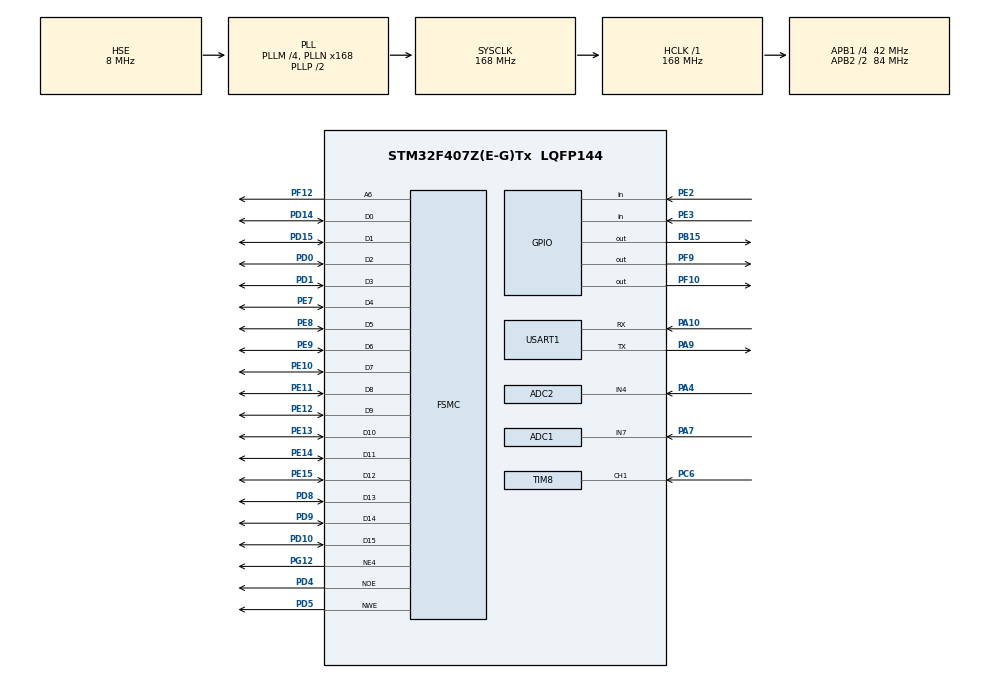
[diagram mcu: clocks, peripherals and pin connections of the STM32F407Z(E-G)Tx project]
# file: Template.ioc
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ADC1.Channel-6\#ChannelRegularConversion=ADC_CHANNEL_7
ADC1.DMAContinuousRequests=DISABLE
ADC1.ExternalTrigConv=ADC_EXTERNALTRIGCONV_T2_TRGO
ADC1.NbrOfConversionFlag=1
ADC1.Rank-6\#ChannelRegularConversion=1
ADC1.SamplingTime-6\#ChannelRegularConversion=ADC_SAMPLETIME_3CYCLES
ADC1.master=1
ADC2.Channel-0\#ChannelRegularConversion=ADC_CHANNEL_4
ADC2.ExternalTrigConv=ADC_EXTERNALTRIGCONV_T2_TRGO
ADC2.NbrOfConversionFlag=1
ADC2.Rank-0\#ChannelRegularConversion=1
ADC2.SamplingTime-0\#ChannelRegularConversion=ADC_SAMPLETIME_3CYCLES
Dma.ADC1.2.Direction=DMA_PERIPH_TO_MEMORY
Dma.ADC1.2.FIFOMode=DMA_FIFOMODE_DISABLE
Dma.ADC1.2.Instance=DMA2_Stream0
Dma.ADC1.2.MemDataAlignment=DMA_MDATAALIGN_HALFWORD
Dma.ADC1.2.MemInc=DMA_MINC_ENABLE
Dma.ADC1.2.Mode=DMA_CIRCULAR
Dma.ADC1.2.PeriphDataAlignment=DMA_PDATAALIGN_HALFWORD
Dma.ADC1.2.PeriphInc=DMA_PINC_DISABLE
Dma.ADC1.2.Priority=DMA_PRIORITY_LOW
Dma.ADC2.3.Direction=DMA_PERIPH_TO_MEMORY
Dma.ADC2.3.FIFOMode=DMA_FIFOMODE_DISABLE
Dma.ADC2.3.Instance=DMA2_Stream3
Dma.ADC2.3.MemDataAlignment=DMA_MDATAALIGN_HALFWORD
Dma.ADC2.3.MemInc=DMA_MINC_ENABLE
Dma.ADC2.3.Mode=DMA_CIRCULAR
Dma.ADC2.3.PeriphDataAlignment=DMA_PDATAALIGN_HALFWORD
Dma.ADC2.3.PeriphInc=DMA_PINC_DISABLE
Dma.ADC2.3.Priority=DMA_PRIORITY_LOW
Dma.Request0=USART1_RX
Dma.Request1=USART1_TX
Dma.Request2=ADC1
Dma.Request3=ADC2
Dma.USART1_RX.0.Direction=DMA_PERIPH_TO_MEMORY
Dma.USART1_RX.0.FIFOMode=DMA_FIFOMODE_DISABLE
Dma.USART1_RX.0.Instance=DMA2_Stream2
Dma.USART1_RX.0.MemDataAlignment=DMA_MDATAALIGN_BYTE
Dma.USART1_RX.0.MemInc=DMA_MINC_ENABLE
Dma.USART1_RX.0.Mode=DMA_NORMAL
Dma.USART1_RX.0.PeriphDataAlignment=DMA_PDATAALIGN_BYTE
Dma.USART1_RX.0.PeriphInc=DMA_PINC_DISABLE
Dma.USART1_RX.0.Priority=DMA_PRIORITY_MEDIUM
Dma.USART1_TX.1.Direction=DMA_MEMORY_TO_PERIPH
Dma.USART1_TX.1.FIFOMode=DMA_FIFOMODE_DISABLE
Dma.USART1_TX.1.Instance=DMA2_Stream7
Dma.USART1_TX.1.MemDataAlignment=DMA_MDATAALIGN_BYTE
Dma.USART1_TX.1.MemInc=DMA_MINC_ENABLE
Dma.USART1_TX.1.Mode=DMA_NORMAL
Dma.USART1_TX.1.PeriphDataAlignment=DMA_PDATAALIGN_BYTE
Dma.USART1_TX.1.PeriphInc=DMA_PINC_DISABLE
Dma.USART1_TX.1.Priority=DMA_PRIORITY_HIGH
FSMC.ExtendedAddressSetupTime4=8
FSMC.ExtendedBusTurnAroundDuration4=0
FSMC.ExtendedDataSetupTime4=9
FSMC.ExtendedMode4=FSMC_EXTENDED_MODE_ENABLE
Mcu.Family=STM32F4
Mcu.Name=STM32F407Z(E-G)Tx
Mcu.Package=LQFP144
NVIC.DMA2_Stream0_IRQn=true\:0\:0\:false\:false\:true\:false\:true\:true
NVIC.DMA2_Stream2_IRQn=true\:0\:0\:false\:false\:true\:false\:true\:true
NVIC.DMA2_Stream3_IRQn=true\:0\:0\:false\:false\:true\:false\:true\:true
NVIC.DMA2_Stream7_IRQn=true\:0\:0\:false\:false\:true\:false\:true\:true
NVIC.PriorityGroup=NVIC_PRIORITYGROUP_4
NVIC.TIM8_CC_IRQn=true\:0\:0\:false\:false\:true\:true\:true\:true
NVIC.USART1_IRQn=true\:3\:0\:true\:false\:true\:true\:true\:true
PA10.Mode=Asynchronous
PA10.Signal=USART1_RX
PA13.Mode=Serial_Wire
PA13.Signal=SYS_JTMS-SWDIO
PA14.Mode=Serial_Wire
PA14.Signal=SYS_JTCK-SWCLK
PA4.Signal=ADCx_IN4
PA7.Signal=ADCx_IN7
PA9.Mode=Asynchronous
PA9.Signal=USART1_TX
PB15.Signal=GPIO_Output
PC14-OSC32_IN.Mode=LSE-External-Oscillator
PC14-OSC32_IN.Signal=RCC_OSC32_IN
PC15-OSC32_OUT.Mode=LSE-External-Oscillator
PC15-OSC32_OUT.Signal=RCC_OSC32_OUT
PC6.Signal=S_TIM8_CH1
PD0.Signal=FSMC_D2_DA2
PD1.Signal=FSMC_D3_DA3
PD10.Signal=FSMC_D15_DA15
PD14.Signal=FSMC_D0_DA0
PD15.Signal=FSMC_D1_DA1
PD4.Signal=FSMC_NOE
PD5.Signal=FSMC_NWE
PD8.Signal=FSMC_D13_DA13
PD9.Signal=FSMC_D14_DA14
PE10.Signal=FSMC_D7_DA7
PE11.Signal=FSMC_D8_DA8
PE12.Signal=FSMC_D9_DA9
PE13.Signal=FSMC_D10_DA10
PE14.Signal=FSMC_D11_DA11
PE15.Signal=FSMC_D12_DA12
PE2.GPIO_PuPd=GPIO_PULLUP
PE2.Signal=GPIO_Input
PE3.GPIO_PuPd=GPIO_PULLUP
PE3.Signal=GPIO_Input
PE7.Signal=FSMC_D4_DA4
PE8.Signal=FSMC_D5_DA5
PE9.Signal=FSMC_D6_DA6
PF10.GPIO_PuPd=GPIO_PULLUP
PF10.Signal=GPIO_Output
PF12.Signal=FSMC_A6
PF9.GPIO_PuPd=GPIO_PULLUP
PF9.PinState=GPIO_PIN_RESET
PF9.Signal=GPIO_Output
PG12.Mode=NorPsramChipSelect4_4
PG12.Signal=FSMC_NE4
PH0-OSC_IN.Mode=HSE-External-Oscillator
PH0-OSC_IN.Signal=RCC_OSC_IN
PH1-OSC_OUT.Mode=HSE-External-Oscillator
PH1-OSC_OUT.Signal=RCC_OSC_OUT
ProjectManager.HeapSize=0x200
ProjectManager.StackSize=0x400
ProjectManager.TargetToolchain=STM32CubeIDE
RCC.48MHZClocksFreq_Value=84000000
RCC.AHBFreq_Value=168000000
RCC.APB1CLKDivider=RCC_HCLK_DIV4
RCC.APB1Freq_Value=42000000
RCC.APB1TimFreq_Value=84000000
RCC.APB2CLKDivider=RCC_HCLK_DIV2
RCC.APB2Freq_Value=84000000
RCC.APB2TimFreq_Value=168000000
RCC.CortexFreq_Value=168000000
RCC.HCLKFreq_Value=168000000
RCC.HSE_VALUE=8000000
RCC.HSI_VALUE=16000000
RCC.PLLM=4
RCC.PLLN=168
RCC.PLLSourceVirtual=RCC_PLLSOURCE_HSE
RCC.SYSCLKFreq_VALUE=168000000
RCC.SYSCLKSource=RCC_SYSCLKSOURCE_PLLCLK
RCC.VCOOutputFreq_Value=336000000
SH.ADCx_IN4.0=ADC2_IN4,IN4
SH.ADCx_IN7.0=ADC1_IN7,IN7
SH.FSMC_A6.0=FSMC_A6,A6_4
SH.FSMC_D0_DA0.0=FSMC_D0,16b-d4
SH.FSMC_D10_DA10.0=FSMC_D10,16b-d4
SH.FSMC_D11_DA11.0=FSMC_D11,16b-d4
SH.FSMC_D12_DA12.0=FSMC_D12,16b-d4
SH.FSMC_D13_DA13.0=FSMC_D13,16b-d4
SH.FSMC_D14_DA14.0=FSMC_D14,16b-d4
SH.FSMC_D15_DA15.0=FSMC_D15,16b-d4
SH.FSMC_D1_DA1.0=FSMC_D1,16b-d4
SH.FSMC_D2_DA2.0=FSMC_D2,16b-d4
SH.FSMC_D3_DA3.0=FSMC_D3,16b-d4
SH.FSMC_D4_DA4.0=FSMC_D4,16b-d4
SH.FSMC_D5_DA5.0=FSMC_D5,16b-d4
SH.FSMC_D6_DA6.0=FSMC_D6,16b-d4
SH.FSMC_D7_DA7.0=FSMC_D7,16b-d4
SH.FSMC_D8_DA8.0=FSMC_D8,16b-d4
SH.FSMC_D9_DA9.0=FSMC_D9,16b-d4
SH.FSMC_NOE.0=FSMC_NOE,Lcd4
SH.FSMC_NWE.0=FSMC_NWE,Lcd4
SH.S_TIM8_CH1.0=TIM8_CH1,TriggerSource_TI1FP1
SH.S_TIM8_CH1.1=TIM8_CH1,Input_Capture1_from_TI1
TIM2.AutoReloadPreload=TIM_AUTORELOAD_PRELOAD_ENABLE
TIM2.Period=8399
TIM2.TIM_MasterOutputTrigger=TIM_TRGO_UPDATE
TIM8.AutoReloadPreload=TIM_AUTORELOAD_PRELOAD_ENABLE
TIM8.Channel-Input_Capture1_from_TI1=TIM_CHANNEL_1
TIM8.Channel-Input_Capture2_from_TI1_63=TIM_CHANNEL_2
TIM8.ICPolarity_CH2=TIM_INPUTCHANNELPOLARITY_FALLING
TIM8.Prescaler=168-1
USART1.VirtualMode=VM_ASYNC
VP_TIM2_VS_ClockSourceINT.Mode=Internal
VP_TIM8_VS_ClockSourceINT.Mode=Internal
VP_TIM8_VS_ControllerModeReset.Mode=Reset Mode
VP_TIM8_VS_indirect_ch1.Mode=Input_Capture2_from_TI1_63
board=custom

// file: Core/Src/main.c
/* USER CODE BEGIN Header */
/**
  ******************************************************************************
  * @file           : main.c
  * @brief          : Main program body
  ******************************************************************************
  * @attention
  *
  * Copyright (c) 2023 STMicroelectronics.
  * All rights reserved.
  *
  * This software is licensed under terms that can be found in the LICENSE file
  * in the root directory of this software component.
  * If no LICENSE file comes with this software, it is provided AS-IS.
  *
  ******************************************************************************
  */
/* USER CODE END Header */
#include "main.h"
#include "adc.h"
#include "dma.h"
#include "tim.h"
#include "usart.h"
#include "gpio.h"
#include "fsmc.h"

/* USER CODE BEGIN Includes */
#include "stdio.h"
#include "lcd.h"
#include "scheduler.h"
//#define FFT_LENGTH 1024

/* USER CODE END Includes */

/* USER CODE BEGIN PTD */
uint8_t __io_putchar(int ch)
{
    uint8_t temp[1]={ch};
    HAL_UART_Transmit(&huart1,temp,1,2);
    return(ch);
}

uint8_t _write(int file, char *ptr,int len)
{
    int DataIdx;
    for(DataIdx = 0; DataIdx < len; DataIdx++)
    {
        __io_putchar(*ptr++);
    }
    return len;
}
/* USER CODE END PTD */

void SystemClock_Config(void);

int main(void)
{

  /* MCU Configuration--------------------------------------------------------*/

  /* Reset of all peripherals, Initializes the Flash interface and the Systick. */
  HAL_Init();

  /* Configure the system clock */
  SystemClock_Config();

  /* Initialize all configured peripherals */
  MX_GPIO_Init();
  MX_DMA_Init();
  MX_ADC1_Init();
  MX_FSMC_Init();
  MX_USART1_UART_Init();
  MX_TIM2_Init();
  MX_TIM8_Init();
  MX_ADC2_Init();
  /* USER CODE BEGIN 2 */
    lcd_init();
    lcd_display_dir(1);
    lcd_clear(BLACK);
    HAL_Delay(500);
    display();
    HAL_TIM_Base_Start(&htim2);
//    HAL_TIM_IC_Start_IT(&htim8,TIM_CHANNEL_1);
//    HAL_TIM_IC_Start_IT(&htim8,TIM_CHANNEL_2);

    /* USER CODE END 2 */

  /* Infinite loop */
  while (1)
  {

    /* USER CODE BEGIN 3 */

         Scheduler_Run();

  }
  /* USER CODE END 3 */
}

void SystemClock_Config(void)
{
  RCC_OscInitTypeDef RCC_OscInitStruct = {0};
  RCC_ClkInitTypeDef RCC_ClkInitStruct = {0};

  /** Configure the main internal regulator output voltage
  */
  __HAL_RCC_PWR_CLK_ENABLE();
  __HAL_PWR_VOLTAGESCALING_CONFIG(PWR_REGULATOR_VOLTAGE_SCALE1);

  /** Initializes the RCC Oscillators according to the specified parameters
  * in the RCC_OscInitTypeDef structure.
  */
  RCC_OscInitStruct.OscillatorType = RCC_OSCILLATORTYPE_HSE;
  RCC_OscInitStruct.HSEState = RCC_HSE_ON;
  RCC_OscInitStruct.PLL.PLLState = RCC_PLL_ON;
  RCC_OscInitStruct.PLL.PLLSource = RCC_PLLSOURCE_HSE;
  RCC_OscInitStruct.PLL.PLLM = 4;
  RCC_OscInitStruct.PLL.PLLN = 168;
  RCC_OscInitStruct.PLL.PLLP = RCC_PLLP_DIV2;
  RCC_OscInitStruct.PLL.PLLQ = 4;
  if (HAL_RCC_OscConfig(&RCC_OscInitStruct) != HAL_OK)
  {
    Error_Handler();
  }

  /** Initializes the CPU, AHB and APB buses clocks
  */
  RCC_ClkInitStruct.ClockType = RCC_CLOCKTYPE_HCLK|RCC_CLOCKTYPE_SYSCLK
                              |RCC_CLOCKTYPE_PCLK1|RCC_CLOCKTYPE_PCLK2;
  RCC_ClkInitStruct.SYSCLKSource = RCC_SYSCLKSOURCE_PLLCLK;
  RCC_ClkInitStruct.AHBCLKDivider = RCC_SYSCLK_DIV1;
  RCC_ClkInitStruct.APB1CLKDivider = RCC_HCLK_DIV4;
  RCC_ClkInitStruct.APB2CLKDivider = RCC_HCLK_DIV2;

  if (HAL_RCC_ClockConfig(&RCC_ClkInitStruct, FLASH_LATENCY_5) != HAL_OK)
  {
    Error_Handler();
  }
}

void Error_Handler(void)
{
  __disable_irq();
  while (1)
  {
  }
}
